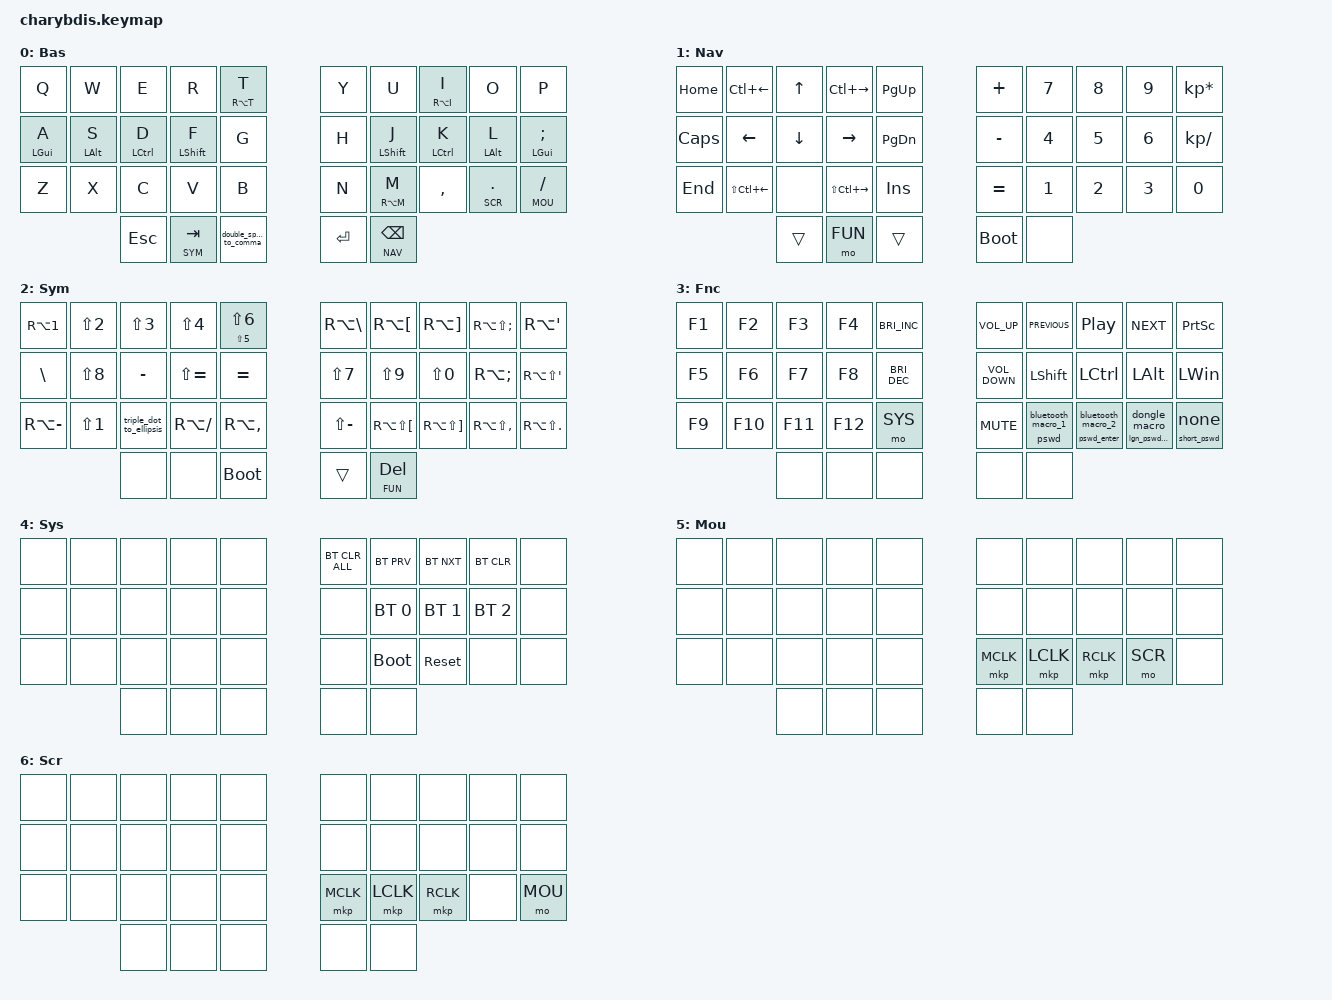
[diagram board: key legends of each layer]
#include <behaviors/mouse_keys.dtsi>
#include <behaviors.dtsi>
#include <dt-bindings/zmk/bt.h>
#include <dt-bindings/zmk/keys.h>
#include <dt-bindings/zmk/mouse.h>
#include <dt-bindings/zmk/outputs.h>
#include <dt-bindings/zmk/ext_power.h>

#define BASE 0
#define NAV  1
#define SYM  2
#define FUN  3
#define SYS  4
#define MOU  5
#define SCR  6

/ {

    chosen { zmk,matrix_transform = &default_transform; };

    combos {
        compatible = "zmk,combos";

        changing_the_language {
            bindings = <&switch_language>;
            key-positions = <12 13 16 17>;
            layers = <BASE>;
            timeout-ms = <200>;
            require-prior-idle-ms = <100>;
        };

        left_click {
            bindings = <&mkp LCLK>;
            key-positions = <2 13>;
            layers = <BASE NAV>;
        };

        right_click {
            bindings = <&mkp RCLK>;
            key-positions = <12 23>;
            layers = <BASE NAV>;
        };

        middle_click {
            bindings = <&mkp MCLK>;
            key-positions = <2 23>;
            layers = <BASE NAV>;
        };

        middle_click_mouse_scroll_layer {
            bindings = <&mkp MCLK>;
            key-positions = <26 27>;
            layers = <MOU SCR>;
        };

        bootloader_dongle_combo {
            bindings = <&bootloader>;
            key-positions = <31 32 33 34>;
            layers = <BASE>;
        };

        bootloader_dongle_combo2 {
            bindings = <&bootloader>;
            key-positions = <30 31 32 33 34>;
            layers = <BASE>;
        };
    };

    trackball_listener {
        compatible = "zmk,input-behavior-listener";
        device = <&vtrackball>;
        layers = <BASE MOU>;
        evt-type = <INPUT_EV_REL>;
        x-input-code = <INPUT_REL_X>;
        y-input-code = <INPUT_REL_Y>;
        scale-multiplier = <1>;
        scale-divisor = <1>;
    };

    trackball_scroll_listener {
        compatible = "zmk,input-behavior-listener";
        device = <&vtrackball>;
        layers = <SYM SCR>;
        evt-type = <INPUT_EV_REL>;
        x-input-code = <INPUT_REL_HWHEEL>;
        y-input-code = <INPUT_REL_WHEEL>;
        y-invert;
        bindings = <&ib_horizontal_wheel_scaler 1 6 &ib_vertical_wheel_scaler 1 8>;
    };

    ib_horizontal_wheel_scaler: ib_horizontal_wheel_scaler {
        compatible = "zmk,input-behavior-scaler";
        #binding-cells = <2>;
        evt-type = <INPUT_EV_REL>;
        input-code = <INPUT_REL_HWHEEL>;
    };

    ib_vertical_wheel_scaler: ib_vertical_wheel_scaler {
        compatible = "zmk,input-behavior-scaler";
        #binding-cells = <2>;
        evt-type = <INPUT_EV_REL>;
        input-code = <INPUT_REL_WHEEL>;
    };

    behaviors {
        ht: ht {
            compatible = "zmk,behavior-hold-tap";
            label = "HT";
            bindings = <&kp>, <&kp>;
            #binding-cells = <2>;
            tapping-term-ms = <150>;
            quick-tap-ms = <300>;
            require-prior-idle-ms = <100>;
            flavor = "tap-preferred";
        };

        ht_short_pswd: ht_short_pswd {
            compatible = "zmk,behavior-hold-tap";
            label = "HT_SHORT_PSWD";
            bindings = <&short_pswd>, <&none>;
            #binding-cells = <2>;
            flavor = "tap-preferred";
            tapping-term-ms = <300>;
            quick-tap-ms = <300>;
            require-prior-idle-ms = <100>;
        };

        ht_pswd: ht_pswd {
            compatible = "zmk,behavior-hold-tap";
            label = "HT_PSWD";
            bindings = <&pswd>, <&bluetooth_macro_1>;
            #binding-cells = <2>;
            flavor = "tap-preferred";
            tapping-term-ms = <300>;
            quick-tap-ms = <300>;
            require-prior-idle-ms = <100>;
        };

        ht_pswd_enter: ht_pswd_enter {
            compatible = "zmk,behavior-hold-tap";
            label = "HT_PSWD_ENTER";
            bindings = <&pswd_enter>, <&bluetooth_macro_2>;
            #binding-cells = <2>;
            tapping-term-ms = <300>;
            quick-tap-ms = <100>;
            require-prior-idle-ms = <100>;
            flavor = "tap-preferred";
        };

        ht_lgn_pswd_enter: ht_lgn_pswd_enter {
            compatible = "zmk,behavior-hold-tap";
            label = "HT_LGN_PSWD_ENTER";
            bindings = <&lgn_pswd_enter>, <&dongle_macro>;
            #binding-cells = <2>;
            flavor = "tap-preferred";
            tapping-term-ms = <300>;
            quick-tap-ms = <100>;
            require-prior-idle-ms = <100>;
        };

        triple_dot_to_ellipsis: triple_dot_to_ellipsis {
            compatible = "zmk,behavior-tap-dance";
            label = "TRIPLE_DOT_TO_ELLIPSIS";
            #binding-cells = <0>;
            bindings = <&kp RA(PERIOD)>, <&none>, <&kp RA(NUMBER_2)>;
            tapping-term-ms = <300>;
        };

        double_space_to_comma: double_space_to_comma {
            compatible = "zmk,behavior-tap-dance";
            label = "DOUBLE_SPACE_TO_COMMA";
            #binding-cells = <0>;
            bindings = <&kp SPACE>, <&double_space_to_comma_macro>;
            tapping-term-ms = <250>;
        };

        lt_slow: lt_slow {
            compatible = "zmk,behavior-hold-tap";
            #binding-cells = <2>;
            bindings = <&mo>, <&kp>;
            tapping-term-ms = <200>;
            quick-tap-ms = <500>; require-prior-idle-ms = <100>; flavor = "tap-preferred";
        };
    };

    macros {
        compatible = "zmk,macros";

        sleep_macro: sleep_macro {
            compatible = "zmk,behavior-macro";
            label = "SLEEP_MACRO";
            #binding-cells = <0>;
            bindings = <&kp LG(D) &kp LA(F4) &kp UP_ARROW &kp ENTER>;
            wait-ms = <350>;
        };

        dongle_macro: dongle_macro {
            compatible = "zmk,behavior-macro";
            label = "DONGLE_MACRO";
            #binding-cells = <0>;
            bindings = <&out OUT_USB>;
        };

        bluetooth_macro_1: bluetooth_macro_1 {
            compatible = "zmk,behavior-macro";
            label = "BLUETOOTH_MACRO_1";
            #binding-cells = <0>;
            bindings = <&bt BT_SEL 0 &out OUT_BLE>;
        };

        bluetooth_macro_2: bluetooth_macro_2 {
            compatible = "zmk,behavior-macro";
            label = "BLUETOOTH_MACRO_2";
            #binding-cells = <0>;
            bindings = <&bt BT_SEL 1 &out OUT_BLE>;
        };

        switch_language: switch_language {
            compatible = "zmk,behavior-macro";
            label = "SWITCH_LANGUAGE";
            #binding-cells = <0>;
            bindings = <&kp LS(LEFT_ALT)>;
        };

        short_pswd: short_pswd {
            compatible = "zmk,behavior-macro";
            label = "pswd";
            #binding-cells = <0>;
            bindings = <&kp LS(G) &kp R &kp NUMBER_3 &kp NUMBER_3 &kp N &kp A &kp T &kp O &kp M &kp LS(G) &kp R &kp EXCL &kp G &kp O &kp R &kp Y>;
        };

        pswd: pswd {
            compatible = "zmk,behavior-macro";
            label = "pswd";
            #binding-cells = <0>;
            bindings = <&kp LS(G) &kp R &kp NUMBER_3 &kp NUMBER_3 &kp N &kp A &kp T &kp O &kp M &kp LS(G) &kp R &kp EXCL &kp G &kp O &kp R &kp Y &kp NUMBER_1>;
        };

        pswd_enter: pswd_enter {
            compatible = "zmk,behavior-macro";
            label = "pswd_enter";
            #binding-cells = <0>;
            bindings = <&kp LS(G) &kp R &kp NUMBER_3 &kp NUMBER_3 &kp N &kp A &kp T &kp O &kp M &kp LS(G) &kp R &kp EXCL &kp G &kp O &kp R &kp Y &kp NUMBER_1 &kp ENTER>;
        };

        lgn_pswd_enter: lgn_pswd_enter {
            compatible = "zmk,behavior-macro";
            label = "login_pswd_enter";
            #binding-cells = <0>;
            bindings = <&kp LS(G) &kp LS(A) &kp LS(N) &kp A &kp D &kp O &kp L &kp I &kp N &kp S &kp K &kp Y &kp TAB &pswd_enter>;
        };

        double_space_to_comma_macro: doublle_spase_dot {
            compatible = "zmk,behavior-macro";
            #binding-cells = <0>;
            bindings = <&kp RA(COMMA) &kp SPACE>;
            label = "DOUBLLE_SPASE_DOT";
        };
    };

    keymap {
        compatible = "zmk,keymap";

        Base {
            label = "Bas";
            bindings = <

            &kp Q         &kp W         &kp E          &kp R          &ht RA(T) T                       &kp Y        &kp U                &ht RA(I) I    &kp O               &kp P
            &ht LGUI A    &ht LALT S    &ht LCTRL D    &ht LSHFT F    &kp G                             &kp H        &ht LSHFT J          &ht LCTRL K    &ht LALT L          &ht LGUI SEMICOLON
            &kp Z         &kp X         &kp C          &kp V          &kp B                             &kp N        &ht RA(M) M          &kp COMMA      &lt_slow SCR DOT    &lt_slow MOU SLASH

                                        &kp ESCAPE     &lt SYM TAB    &double_space_to_comma            &kp ENTER    &lt NAV BACKSPACE    
            
            >;
        };

        Navigation {
            label = "Nav";
            bindings = <

            &kp HOME        &kp LC(LEFT)        &kp UP_ARROW      &kp LC(RIGHT)        &kp PAGE_UP              &kp PLUS       &kp NUMBER_7    &kp NUMBER_8    &kp NUMBER_9    &kp KP_MULTIPLY
            &kp CAPSLOCK    &kp LEFT_ARROW      &kp DOWN_ARROW    &kp RIGHT_ARROW      &kp PAGE_DOWN            &kp MINUS      &kp NUMBER_4    &kp NUMBER_5    &kp NUMBER_6    &kp KP_DIVIDE
            &kp END         &kp LS(LC(LEFT))    &none             &kp LS(LC(RIGHT))    &kp INSERT               &kp EQUAL      &kp NUMBER_1    &kp NUMBER_2    &kp NUMBER_3    &kp NUMBER_0
            
                                                &trans            &mo FUN              &trans                   &bootloader    &none

            >;
        };

        Symbol {
            label = "Sym";
            bindings = <

            &kp RA(NUMBER_1)    &kp LS(NUMBER_2)    &kp LS(NUMBER_3)           &kp LS(NUMBER_4)    &ht LS(N5) LS(NUMBER_6)            &kp RA(BACKSLASH)    &kp RA(LEFT_BRACKET)        &kp RA(RIGHT_BRACKET)        &kp RA(LS(SEMICOLON))    &kp RA(SINGLE_QUOTE)
            &kp BACKSLASH       &kp LS(NUMBER_8)    &kp MINUS                  &kp LS(EQUAL)       &kp EQUAL                          &kp LS(NUMBER_7)     &kp LS(NUMBER_9)            &kp LS(NUMBER_0)             &kp RA(SEMICOLON)        &kp RA(LS(APOSTROPHE))
            &kp RA(MINUS)       &kp LS(NUMBER_1)    &triple_dot_to_ellipsis    &kp RA(SLASH)       &kp RA(COMMA)                      &kp LS(MINUS)        &kp RA(LS(LEFT_BRACKET))    &kp RA(LS(RIGHT_BRACKET))    &kp RA(LS(COMMA))        &kp RA(LS(PERIOD))

                                                    &none                      &none               &bootloader                        &trans               &lt FUN DELETE
            
            >;
        };

        Function {
            label = "Fnc";
            bindings = <

            &kp F1    &kp F2     &kp F3     &kp F4     &kp C_BRIGHTNESS_INC            &kp C_VOLUME_UP      &kp C_PREVIOUS        &kp C_PLAY_PAUSE          &kp C_NEXT                &kp PRINTSCREEN
            &kp F5    &kp F6     &kp F7     &kp F8     &kp C_BRIGHTNESS_DEC            &kp C_VOLUME_DOWN    &kp LEFT_SHIFT        &kp LCTRL                 &kp LEFT_ALT              &kp LEFT_WIN
            &kp F9    &kp F10    &kp F11    &kp F12    &mo SYS                         &kp C_MUTE           &ht_pswd 0 0          &ht_pswd_enter 0 0        &ht_lgn_pswd_enter 0 0    &ht_short_pswd 0 0

                                 &none      &none      &none                           &none                &none
            
            >;
        };

        System {
            label = "Sys";
            bindings = <

            &none    &none    &none    &none    &none            &bt BT_CLR_ALL    &bt BT_PRV      &bt BT_NXT      &bt BT_CLR      &none
            &none    &none    &none    &none    &none            &none             &bt BT_SEL 0    &bt BT_SEL 1    &bt BT_SEL 2    &none
            &none    &none    &none    &none    &none            &none             &bootloader     &sys_reset      &none           &none
        
                              &none    &none    &none            &none             &none
            
            >;
        };

        Mouse {
            label = "Mou";
            bindings = <
        
            &none    &none    &none    &none    &none            &none        &none        &none        &none      &none
            &none    &none    &none    &none    &none            &none        &none        &none        &none      &none
            &none    &none    &none    &none    &none            &mkp MCLK    &mkp LCLK    &mkp RCLK    &mo SCR    &none
        
                              &none    &none    &none            &none    &none
        
            >;
        };

        Scroll {
            label = "Scr";
            bindings = <
        
            &none    &none    &none    &none    &none            &none        &none        &none        &none    &none
            &none    &none    &none    &none    &none            &none        &none        &none        &none    &none
            &none    &none    &none    &none    &none            &mkp MCLK    &mkp LCLK    &mkp RCLK    &none    &mo MOU
        
                              &none    &none    &none            &none    &none
        
            >;
        };
    };
};


































